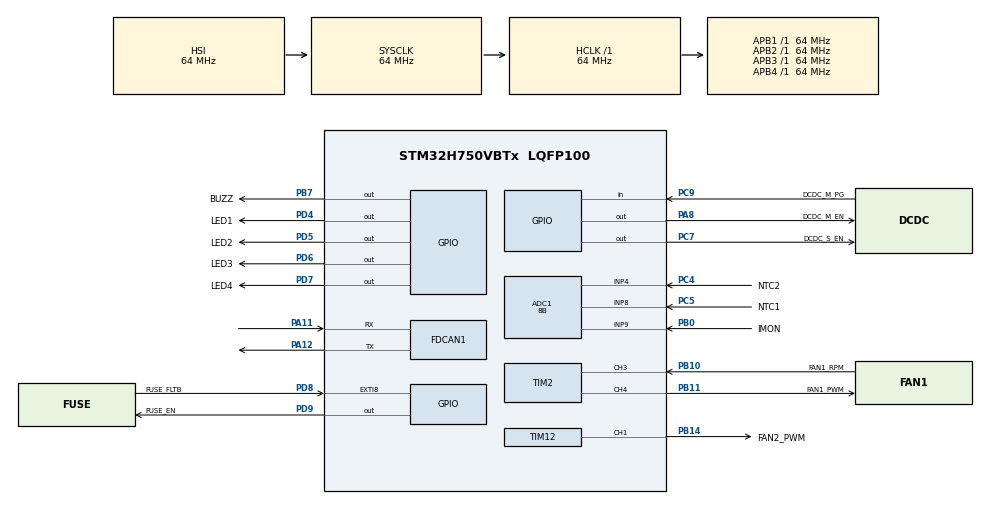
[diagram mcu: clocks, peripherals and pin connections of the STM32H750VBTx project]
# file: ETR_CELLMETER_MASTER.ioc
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ADC1.Channel-0\#ChannelRegularConversion=ADC_CHANNEL_8
ADC1.Channel-1\#ChannelRegularConversion=ADC_CHANNEL_4
ADC1.Channel-2\#ChannelRegularConversion=ADC_CHANNEL_9
ADC1.ClockPrescaler=ADC_CLOCK_ASYNC_DIV8
ADC1.ContinuousConvMode=ENABLE
ADC1.ConversionDataManagement=ADC_CONVERSIONDATA_DMA_CIRCULAR
ADC1.EOCSelection=ADC_EOC_SEQ_CONV
ADC1.NbrOfConversion=3
ADC1.NbrOfConversionFlag=1
ADC1.OffsetNumber-0\#ChannelRegularConversion=ADC_OFFSET_NONE
ADC1.OffsetNumber-1\#ChannelRegularConversion=ADC_OFFSET_NONE
ADC1.OffsetNumber-2\#ChannelRegularConversion=ADC_OFFSET_NONE
ADC1.OffsetSignedSaturation-0\#ChannelRegularConversion=DISABLE
ADC1.OffsetSignedSaturation-1\#ChannelRegularConversion=DISABLE
ADC1.OffsetSignedSaturation-2\#ChannelRegularConversion=DISABLE
ADC1.Rank-0\#ChannelRegularConversion=1
ADC1.Rank-1\#ChannelRegularConversion=2
ADC1.Rank-2\#ChannelRegularConversion=3
ADC1.Resolution=ADC_RESOLUTION_8B
ADC1.SamplingTime-0\#ChannelRegularConversion=ADC_SAMPLETIME_1CYCLE_5
ADC1.SamplingTime-1\#ChannelRegularConversion=ADC_SAMPLETIME_1CYCLE_5
ADC1.SamplingTime-2\#ChannelRegularConversion=ADC_SAMPLETIME_1CYCLE_5
ADC1.master=1
CORTEX_M7.default_mode_Activation=1
Dma.ADC1.0.Direction=DMA_PERIPH_TO_MEMORY
Dma.ADC1.0.EventEnable=DISABLE
Dma.ADC1.0.FIFOMode=DMA_FIFOMODE_DISABLE
Dma.ADC1.0.Instance=DMA1_Stream0
Dma.ADC1.0.MemDataAlignment=DMA_MDATAALIGN_BYTE
Dma.ADC1.0.MemInc=DMA_MINC_ENABLE
Dma.ADC1.0.Mode=DMA_CIRCULAR
Dma.ADC1.0.PeriphDataAlignment=DMA_PDATAALIGN_BYTE
Dma.ADC1.0.PeriphInc=DMA_PINC_DISABLE
Dma.ADC1.0.Polarity=HAL_DMAMUX_REQ_GEN_RISING
Dma.ADC1.0.Priority=DMA_PRIORITY_LOW
Dma.ADC1.0.RequestNumber=1
Dma.ADC1.0.SignalID=NONE
Dma.ADC1.0.SyncEnable=DISABLE
Dma.ADC1.0.SyncPolarity=HAL_DMAMUX_SYNC_NO_EVENT
Dma.ADC1.0.SyncRequestNumber=1
Dma.ADC1.0.SyncSignalID=NONE
Dma.Request0=ADC1
FDCAN1.CalculateBaudRateNominal=625000
FDCAN1.CalculateTimeBitNominal=1600
FDCAN1.CalculateTimeQuantumNominal=320.0
Mcu.Family=STM32H7
Mcu.Name=STM32H750VBTx
Mcu.Package=LQFP100
NVIC.DMA1_Stream0_IRQn=true\:0\:0\:false\:false\:true\:false\:true\:true
NVIC.PriorityGroup=NVIC_PRIORITYGROUP_4
PA11.Mode=FDCAN_Activate
PA11.Signal=FDCAN1_RX
PA12.Mode=FDCAN_Activate
PA12.Signal=FDCAN1_TX
PA13\ (JTMS/SWDIO).Mode=Serial_Wire
PA13\ (JTMS/SWDIO).Signal=DEBUG_JTMS-SWDIO
PA14\ (JTCK/SWCLK).Mode=Serial_Wire
PA14\ (JTCK/SWCLK).Signal=DEBUG_JTCK-SWCLK
PA8.GPIO_Label=DCDC_M_EN
PA8.Signal=GPIO_Output
PB0.GPIO_Label=IMON
PB0.Signal=ADCx_INP9
PB10.GPIO_Label=FAN1_RPM
PB10.Signal=S_TIM2_CH3
PB11.GPIO_Label=FAN1_PWM
PB11.Signal=S_TIM2_CH4
PB14.GPIO_Label=FAN2_PWM
PB14.Signal=S_TIM12_CH1
PB7.GPIO_Label=BUZZ
PB7.Signal=GPIO_Output
PC14-OSC32_IN\ (OSC32_IN).Mode=LSE-External-Oscillator
PC14-OSC32_IN\ (OSC32_IN).Signal=RCC_OSC32_IN
PC15-OSC32_OUT\ (OSC32_OUT).Mode=LSE-External-Oscillator
PC15-OSC32_OUT\ (OSC32_OUT).Signal=RCC_OSC32_OUT
PC4.GPIO_Label=NTC2
PC4.Signal=ADCx_INP4
PC5.GPIO_Label=NTC1
PC5.Signal=ADCx_INP8
PC7.GPIO_Label=DCDC_S_EN
PC7.Signal=GPIO_Output
PC9.GPIO_Label=DCDC_M_PG
PC9.Signal=GPIO_Input
PD4.GPIO_Label=LED1
PD4.Signal=GPIO_Output
PD5.GPIO_Label=LED2
PD5.Signal=GPIO_Output
PD6.GPIO_Label=LED3
PD6.Signal=GPIO_Output
PD7.GPIO_Label=LED4
PD7.Signal=GPIO_Output
PD8.GPIO_Label=FUSE_FLTB
PD8.Signal=GPXTI8
PD9.GPIO_Label=FUSE_EN
PD9.Signal=GPIO_Output
PH0-OSC_IN\ (PH0).Mode=HSE-External-Oscillator
PH0-OSC_IN\ (PH0).Signal=RCC_OSC_IN
PH1-OSC_OUT\ (PH1).Mode=HSE-External-Oscillator
PH1-OSC_OUT\ (PH1).Signal=RCC_OSC_OUT
ProjectManager.HeapSize=0x200
ProjectManager.StackSize=0x400
ProjectManager.TargetToolchain=STM32CubeIDE
RCC.ADCFreq_Value=75000000
RCC.APB1Freq_Value=64000000
RCC.APB2Freq_Value=64000000
RCC.APB3Freq_Value=64000000
RCC.APB4Freq_Value=64000000
RCC.CortexFreq_Value=64000000
RCC.DIVM1=4
RCC.DIVM2=4
RCC.DIVN1=24
RCC.DIVN2=24
RCC.DIVQ1=3
RCC.HCLKFreq_Value=64000000
RCC.PLL2FRACN=0
RCC.PLLFRACN=0
RCC.PLLSourceVirtual=RCC_PLLSOURCE_HSE
RCC.SYSCLKFreq_VALUE=64000000
RCC.USBFreq_Value=50000000
SH.ADCx_INP4.0=ADC1_INP4,IN4-Single-Ended
SH.ADCx_INP8.0=ADC1_INP8,IN8-Single-Ended
SH.ADCx_INP9.0=ADC1_INP9,IN9-Single-Ended
SH.S_TIM12_CH1.0=TIM12_CH1,PWM Generation1 CH1
SH.S_TIM2_CH3.0=TIM2_CH3,Input_Capture3_from_TI3
SH.S_TIM2_CH4.0=TIM2_CH4,Forced Output4 CH4
TIM12.Channel-PWM\ Generation1\ CH1=TIM_CHANNEL_1
TIM2.Channel-Forced\ Output4\ CH4=TIM_CHANNEL_4
TIM2.Channel-Input_Capture3_from_TI3=TIM_CHANNEL_3
VP_MEMORYMAP_VS_MEMORYMAP.Mode=CurAppReg
VP_TIM12_VS_ClockSourceINT.Mode=Internal
VP_TIM2_VS_ClockSourceINT.Mode=Internal
board=custom

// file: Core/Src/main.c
/* USER CODE BEGIN Header */
/**
  ******************************************************************************
  * @file           : main.c
  * @brief          : Main program body
  ******************************************************************************
  * @attention
  *
  * Copyright (c) 2024 STMicroelectronics.
  * All rights reserved.
  *
  * This software is licensed under terms that can be found in the LICENSE file
  * in the root directory of this software component.
  * If no LICENSE file comes with this software, it is provided AS-IS.
  *
  ******************************************************************************
  */
/* USER CODE END Header */
#include "main.h"

/* USER CODE BEGIN Includes */
#include "P_Controller.h"

/* USER CODE END Includes */

/* USER CODE BEGIN PD */
P_Controller *pc;

/* USER CODE END PD */

ADC_HandleTypeDef hadc1;
DMA_HandleTypeDef hdma_adc1;

FDCAN_HandleTypeDef hfdcan1;

TIM_HandleTypeDef htim2;
TIM_HandleTypeDef htim12;

void SystemClock_Config(void);
static void MPU_Config(void);
static void MX_GPIO_Init(void);
static void MX_DMA_Init(void);
static void MX_ADC1_Init(void);
static void MX_FDCAN1_Init(void);
static void MX_TIM2_Init(void);
static void MX_TIM12_Init(void);

/* USER CODE BEGIN 0 */

uint8_t analog_buffer[3];
uint8_t errors_byte=0;

void errors_byte_control (void){
	//set or reset general error bit if at least 1 error exisits
	if(errors_byte<=1){
		errors_byte=0;
	}
	else{
		errors_byte=errors_byte|0b00000001;
	}

}

void master_init(void){
	//apagar supply slaves
	HAL_GPIO_WritePin(DCDC_M_EN_GPIO_Port, DCDC_M_EN_Pin, GPIO_PIN_RESET);
	HAL_GPIO_WritePin(DCDC_S_EN_GPIO_Port, DCDC_S_EN_Pin, GPIO_PIN_RESET);
	HAL_GPIO_WritePin(FUSE_EN_GPIO_Port, FUSE_EN_Pin, GPIO_PIN_RESET);
	//encendre user LED 1
	HAL_GPIO_WritePin(LED1_GPIO_Port, LED1_Pin, GPIO_PIN_SET);
	//iniciar refri
	P_Controller_Init(pc);

}

void slave_supply_init(void){
	//activar DCDCs
	HAL_GPIO_WritePin(DCDC_M_EN_GPIO_Port, DCDC_M_EN_Pin, GPIO_PIN_SET);
	HAL_GPIO_WritePin(DCDC_S_EN_GPIO_Port, DCDC_S_EN_Pin, GPIO_PIN_SET);
	HAL_Delay(10);
	//si supply correcte activar fuse
	if(HAL_GPIO_ReadPin(DCDC_M_PG_GPIO_Port, DCDC_M_PG_Pin)==1){
		HAL_GPIO_WritePin(FUSE_EN_GPIO_Port, FUSE_EN_Pin, GPIO_PIN_SET);
	}
	//reset bit error slaves supply
	//reset bit error slaves supply overcurrent
	errors_byte=errors_byte&0b11111001;
}

void power_manager(void){
	if(HAL_GPIO_ReadPin(DCDC_M_PG_GPIO_Port, DCDC_M_PG_Pin)==0){
		HAL_GPIO_WritePin(DCDC_M_EN_GPIO_Port, DCDC_M_EN_Pin, GPIO_PIN_RESET);
		HAL_GPIO_WritePin(DCDC_S_EN_GPIO_Port, DCDC_S_EN_Pin, GPIO_PIN_RESET);
		//set bit error slaves supply
		errors_byte=errors_byte|0b00000010;
	}
	if(HAL_GPIO_ReadPin(FUSE_FLTB_GPIO_Port, FUSE_FLTB_Pin)==0){
		HAL_GPIO_WritePin(DCDC_M_EN_GPIO_Port, DCDC_M_EN_Pin, GPIO_PIN_RESET);
		HAL_GPIO_WritePin(DCDC_S_EN_GPIO_Port, DCDC_S_EN_Pin, GPIO_PIN_RESET);
		//set bit error slaves supply overcurrent
		errors_byte=errors_byte|0b00000100;
	}
}

void HAL_ADC_ConvCpltCallback(ADC_HandleTypeDef* hadc) { //funció conversió DMA
    if (hadc->Instance == ADC1) {
        //uint8_t ntc1=analog_buffer[0]
    	//uint8_t ntc2=analog_buffer[1]
    	//uint8_t imon=analog_buffer[2]
    }
}

void capacity_calculation(void){
	/*
	uint16_t Imax, Imin, delta_t;
	float Q, Q_previous;
	->assingar els buffers amb els valors amb les variables locals de la funció
	if(I_value<I_previous_value){
		Imax=I_previous_value;
		Imin=I_value;
	}
	else{
		Imax=I_value;
		Imin=I_previous_value;
	}
	delta_t=t_previous_value-t_value;
	Q=Q_previous + (delta_t * (Imax+0.5*Imin))/3600;
	*/
}

void energy_calculation(void){
	/*
	uint16_t Pmax, Pmin, delta_t;
	float E, E_previous;
	if((I_value*V_value)<(I_previous_value*V_previous_value)){
		Pmax=I_previous_value*V_previous_value;
		Pmin=I_value*V_value;
	}
	else{
		Pmax=I_value*V_value;
		Pmin=I_previous_value*V_previous_value;
	}
	delta_t=t_previous_value-t_value;
	E=E_previous+(delta_t*(Pmax+0.5*Imin))/3600;
	*/
}

void cooling_controller(void){
	/*
	uint16_t duty_fan = P_Controller_Update(pc, max_temperture, cooling_mode);
	TIM2->CCR4 = 100 - duty_fan;
	TIM12->CCR1 = 100 - duty_fan;
	*/
}

/* USER CODE END 0 */

int main(void)
{

  /* MPU Configuration--------------------------------------------------------*/
  MPU_Config();

  /* MCU Configuration--------------------------------------------------------*/

  /* Reset of all peripherals, Initializes the Flash interface and the Systick. */
  HAL_Init();

  /* Configure the system clock */
  SystemClock_Config();

  /* Initialize all configured peripherals */
  MX_GPIO_Init();
  MX_DMA_Init();
  MX_ADC1_Init();
  MX_FDCAN1_Init();
  MX_TIM2_Init();
  MX_TIM12_Init();
  /* USER CODE BEGIN 2 */
  HAL_TIM_PWM_Start(&htim2, TIM_CHANNEL_4);
  HAL_TIM_PWM_Start(&htim12, TIM_CHANNEL_1);
  HAL_ADC_Start_DMA(&hadc1, (uint32_t *)analog_buffer, 3);
  master_init();
  /* USER CODE END 2 */

  /* Infinite loop */
  while (1)
  {

  }
}

void SystemClock_Config(void)
{
  RCC_OscInitTypeDef RCC_OscInitStruct = {0};
  RCC_ClkInitTypeDef RCC_ClkInitStruct = {0};

  /** Supply configuration update enable
  */
  HAL_PWREx_ConfigSupply(PWR_LDO_SUPPLY);

  /** Configure the main internal regulator output voltage
  */
  __HAL_PWR_VOLTAGESCALING_CONFIG(PWR_REGULATOR_VOLTAGE_SCALE3);

  while(!__HAL_PWR_GET_FLAG(PWR_FLAG_VOSRDY)) {}

  /** Initializes the RCC Oscillators according to the specified parameters
  * in the RCC_OscInitTypeDef structure.
  */
  RCC_OscInitStruct.OscillatorType = RCC_OSCILLATORTYPE_HSI|RCC_OSCILLATORTYPE_HSE;
  RCC_OscInitStruct.HSEState = RCC_HSE_ON;
  RCC_OscInitStruct.HSIState = RCC_HSI_DIV1;
  RCC_OscInitStruct.HSICalibrationValue = RCC_HSICALIBRATION_DEFAULT;
  RCC_OscInitStruct.PLL.PLLState = RCC_PLL_ON;
  RCC_OscInitStruct.PLL.PLLSource = RCC_PLLSOURCE_HSE;
  RCC_OscInitStruct.PLL.PLLM = 4;
  RCC_OscInitStruct.PLL.PLLN = 24;
  RCC_OscInitStruct.PLL.PLLP = 2;
  RCC_OscInitStruct.PLL.PLLQ = 3;
  RCC_OscInitStruct.PLL.PLLR = 2;
  RCC_OscInitStruct.PLL.PLLRGE = RCC_PLL1VCIRANGE_2;
  RCC_OscInitStruct.PLL.PLLVCOSEL = RCC_PLL1VCOMEDIUM;
  RCC_OscInitStruct.PLL.PLLFRACN = 0;
  if (HAL_RCC_OscConfig(&RCC_OscInitStruct) != HAL_OK)
  {
    Error_Handler();
  }

  /** Initializes the CPU, AHB and APB buses clocks
  */
  RCC_ClkInitStruct.ClockType = RCC_CLOCKTYPE_HCLK|RCC_CLOCKTYPE_SYSCLK
                              |RCC_CLOCKTYPE_PCLK1|RCC_CLOCKTYPE_PCLK2
                              |RCC_CLOCKTYPE_D3PCLK1|RCC_CLOCKTYPE_D1PCLK1;
  RCC_ClkInitStruct.SYSCLKSource = RCC_SYSCLKSOURCE_HSI;
  RCC_ClkInitStruct.SYSCLKDivider = RCC_SYSCLK_DIV1;
  RCC_ClkInitStruct.AHBCLKDivider = RCC_HCLK_DIV1;
  RCC_ClkInitStruct.APB3CLKDivider = RCC_APB3_DIV1;
  RCC_ClkInitStruct.APB1CLKDivider = RCC_APB1_DIV1;
  RCC_ClkInitStruct.APB2CLKDivider = RCC_APB2_DIV1;
  RCC_ClkInitStruct.APB4CLKDivider = RCC_APB4_DIV1;

  if (HAL_RCC_ClockConfig(&RCC_ClkInitStruct, FLASH_LATENCY_1) != HAL_OK)
  {
    Error_Handler();
  }
}

static void MX_ADC1_Init(void)
{

  ADC_MultiModeTypeDef multimode = {0};
  ADC_ChannelConfTypeDef sConfig = {0};

  /** Common config
  */
  hadc1.Instance = ADC1;
  hadc1.Init.ScanConvMode = ADC_SCAN_ENABLE;
  hadc1.Init.EOCSelection = ADC_EOC_SEQ_CONV;
  hadc1.Init.LowPowerAutoWait = DISABLE;
  hadc1.Init.ContinuousConvMode = ENABLE;
  hadc1.Init.NbrOfConversion = 3;
  hadc1.Init.DiscontinuousConvMode = DISABLE;
  hadc1.Init.ExternalTrigConv = ADC_SOFTWARE_START;
  hadc1.Init.ExternalTrigConvEdge = ADC_EXTERNALTRIGCONVEDGE_NONE;
  hadc1.Init.ConversionDataManagement = ADC_CONVERSIONDATA_DMA_CIRCULAR;
  hadc1.Init.Overrun = ADC_OVR_DATA_PRESERVED;
  hadc1.Init.LeftBitShift = ADC_LEFTBITSHIFT_NONE;
  hadc1.Init.OversamplingMode = DISABLE;
  hadc1.Init.Oversampling.Ratio = 1;
  if (HAL_ADC_Init(&hadc1) != HAL_OK)
  {
    Error_Handler();
  }
  hadc1.Init.ClockPrescaler = ADC_CLOCK_ASYNC_DIV8;
  hadc1.Init.Resolution = ADC_RESOLUTION_8B;
  if (HAL_ADC_Init(&hadc1) != HAL_OK)
  {
    Error_Handler();
  }

  /** Configure the ADC multi-mode
  */
  multimode.Mode = ADC_MODE_INDEPENDENT;
  if (HAL_ADCEx_MultiModeConfigChannel(&hadc1, &multimode) != HAL_OK)
  {
    Error_Handler();
  }

  /** Configure Regular Channel
  */
  sConfig.Channel = ADC_CHANNEL_8;
  sConfig.Rank = ADC_REGULAR_RANK_1;
  sConfig.SamplingTime = ADC_SAMPLETIME_1CYCLE_5;
  sConfig.SingleDiff = ADC_SINGLE_ENDED;
  sConfig.OffsetNumber = ADC_OFFSET_NONE;
  sConfig.Offset = 0;
  sConfig.OffsetSignedSaturation = DISABLE;
  if (HAL_ADC_ConfigChannel(&hadc1, &sConfig) != HAL_OK)
  {
    Error_Handler();
  }

  /** Configure Regular Channel
  */
  sConfig.Channel = ADC_CHANNEL_4;
  sConfig.Rank = ADC_REGULAR_RANK_2;
  if (HAL_ADC_ConfigChannel(&hadc1, &sConfig) != HAL_OK)
  {
    Error_Handler();
  }

  /** Configure Regular Channel
  */
  sConfig.Channel = ADC_CHANNEL_9;
  sConfig.Rank = ADC_REGULAR_RANK_3;
  if (HAL_ADC_ConfigChannel(&hadc1, &sConfig) != HAL_OK)
  {
    Error_Handler();
  }

}

static void MX_FDCAN1_Init(void)
{

  hfdcan1.Instance = FDCAN1;
  hfdcan1.Init.FrameFormat = FDCAN_FRAME_CLASSIC;
  hfdcan1.Init.Mode = FDCAN_MODE_NORMAL;
  hfdcan1.Init.AutoRetransmission = DISABLE;
  hfdcan1.Init.TransmitPause = DISABLE;
  hfdcan1.Init.ProtocolException = DISABLE;
  hfdcan1.Init.NominalPrescaler = 16;
  hfdcan1.Init.NominalSyncJumpWidth = 1;
  hfdcan1.Init.NominalTimeSeg1 = 2;
  hfdcan1.Init.NominalTimeSeg2 = 2;
  hfdcan1.Init.DataPrescaler = 1;
  hfdcan1.Init.DataSyncJumpWidth = 1;
  hfdcan1.Init.DataTimeSeg1 = 1;
  hfdcan1.Init.DataTimeSeg2 = 1;
  hfdcan1.Init.MessageRAMOffset = 0;
  hfdcan1.Init.StdFiltersNbr = 0;
  hfdcan1.Init.ExtFiltersNbr = 0;
  hfdcan1.Init.RxFifo0ElmtsNbr = 0;
  hfdcan1.Init.RxFifo0ElmtSize = FDCAN_DATA_BYTES_8;
  hfdcan1.Init.RxFifo1ElmtsNbr = 0;
  hfdcan1.Init.RxFifo1ElmtSize = FDCAN_DATA_BYTES_8;
  hfdcan1.Init.RxBuffersNbr = 0;
  hfdcan1.Init.RxBufferSize = FDCAN_DATA_BYTES_8;
  hfdcan1.Init.TxEventsNbr = 0;
  hfdcan1.Init.TxBuffersNbr = 0;
  hfdcan1.Init.TxFifoQueueElmtsNbr = 0;
  hfdcan1.Init.TxFifoQueueMode = FDCAN_TX_FIFO_OPERATION;
  hfdcan1.Init.TxElmtSize = FDCAN_DATA_BYTES_8;
  if (HAL_FDCAN_Init(&hfdcan1) != HAL_OK)
  {
    Error_Handler();
  }

}

static void MX_TIM2_Init(void)
{

  TIM_ClockConfigTypeDef sClockSourceConfig = {0};
  TIM_MasterConfigTypeDef sMasterConfig = {0};
  TIM_IC_InitTypeDef sConfigIC = {0};
  TIM_OC_InitTypeDef sConfigOC = {0};

  htim2.Instance = TIM2;
  htim2.Init.Prescaler = 0;
  htim2.Init.CounterMode = TIM_COUNTERMODE_UP;
  htim2.Init.Period = 4294967295;
  htim2.Init.ClockDivision = TIM_CLOCKDIVISION_DIV1;
  htim2.Init.AutoReloadPreload = TIM_AUTORELOAD_PRELOAD_DISABLE;
  if (HAL_TIM_Base_Init(&htim2) != HAL_OK)
  {
    Error_Handler();
  }
  sClockSourceConfig.ClockSource = TIM_CLOCKSOURCE_INTERNAL;
  if (HAL_TIM_ConfigClockSource(&htim2, &sClockSourceConfig) != HAL_OK)
  {
    Error_Handler();
  }
  if (HAL_TIM_IC_Init(&htim2) != HAL_OK)
  {
    Error_Handler();
  }
  if (HAL_TIM_OC_Init(&htim2) != HAL_OK)
  {
    Error_Handler();
  }
  sMasterConfig.MasterOutputTrigger = TIM_TRGO_RESET;
  sMasterConfig.MasterSlaveMode = TIM_MASTERSLAVEMODE_DISABLE;
  if (HAL_TIMEx_MasterConfigSynchronization(&htim2, &sMasterConfig) != HAL_OK)
  {
    Error_Handler();
  }
  sConfigIC.ICPolarity = TIM_INPUTCHANNELPOLARITY_RISING;
  sConfigIC.ICSelection = TIM_ICSELECTION_DIRECTTI;
  sConfigIC.ICPrescaler = TIM_ICPSC_DIV1;
  sConfigIC.ICFilter = 0;
  if (HAL_TIM_IC_ConfigChannel(&htim2, &sConfigIC, TIM_CHANNEL_3) != HAL_OK)
  {
    Error_Handler();
  }
  sConfigOC.OCMode = TIM_OCMODE_FORCED_ACTIVE;
  sConfigOC.Pulse = 0;
  sConfigOC.OCPolarity = TIM_OCPOLARITY_HIGH;
  sConfigOC.OCFastMode = TIM_OCFAST_DISABLE;
  if (HAL_TIM_OC_ConfigChannel(&htim2, &sConfigOC, TIM_CHANNEL_4) != HAL_OK)
  {
    Error_Handler();
  }
  HAL_TIM_MspPostInit(&htim2);

}

static void MX_TIM12_Init(void)
{

  TIM_ClockConfigTypeDef sClockSourceConfig = {0};
  TIM_MasterConfigTypeDef sMasterConfig = {0};
  TIM_OC_InitTypeDef sConfigOC = {0};

  htim12.Instance = TIM12;
  htim12.Init.Prescaler = 0;
  htim12.Init.CounterMode = TIM_COUNTERMODE_UP;
  htim12.Init.Period = 65535;
  htim12.Init.ClockDivision = TIM_CLOCKDIVISION_DIV1;
  htim12.Init.AutoReloadPreload = TIM_AUTORELOAD_PRELOAD_DISABLE;
  if (HAL_TIM_Base_Init(&htim12) != HAL_OK)
  {
    Error_Handler();
  }
  sClockSourceConfig.ClockSource = TIM_CLOCKSOURCE_INTERNAL;
  if (HAL_TIM_ConfigClockSource(&htim12, &sClockSourceConfig) != HAL_OK)
  {
    Error_Handler();
  }
  if (HAL_TIM_PWM_Init(&htim12) != HAL_OK)
  {
    Error_Handler();
  }
  sMasterConfig.MasterOutputTrigger = TIM_TRGO_RESET;
  sMasterConfig.MasterSlaveMode = TIM_MASTERSLAVEMODE_DISABLE;
  if (HAL_TIMEx_MasterConfigSynchronization(&htim12, &sMasterConfig) != HAL_OK)
  {
    Error_Handler();
  }
  sConfigOC.OCMode = TIM_OCMODE_PWM1;
  sConfigOC.Pulse = 0;
  sConfigOC.OCPolarity = TIM_OCPOLARITY_HIGH;
  sConfigOC.OCFastMode = TIM_OCFAST_DISABLE;
  if (HAL_TIM_PWM_ConfigChannel(&htim12, &sConfigOC, TIM_CHANNEL_1) != HAL_OK)
  {
    Error_Handler();
  }
  HAL_TIM_MspPostInit(&htim12);

}

static void MX_DMA_Init(void)
{

  /* DMA controller clock enable */
  __HAL_RCC_DMA1_CLK_ENABLE();

  /* DMA interrupt init */
  /* DMA1_Stream0_IRQn interrupt configuration */
  HAL_NVIC_SetPriority(DMA1_Stream0_IRQn, 0, 0);
  HAL_NVIC_EnableIRQ(DMA1_Stream0_IRQn);

}

static void MX_GPIO_Init(void)
{
  GPIO_InitTypeDef GPIO_InitStruct = {0};

  /* GPIO Ports Clock Enable */
  __HAL_RCC_GPIOC_CLK_ENABLE();
  __HAL_RCC_GPIOH_CLK_ENABLE();
  __HAL_RCC_GPIOB_CLK_ENABLE();
  __HAL_RCC_GPIOD_CLK_ENABLE();
  __HAL_RCC_GPIOA_CLK_ENABLE();

  /*Configure GPIO pin Output Level */
  HAL_GPIO_WritePin(GPIOD, FUSE_EN_Pin|LED1_Pin|LED2_Pin|LED3_Pin
                          |LED4_Pin, GPIO_PIN_RESET);

  /*Configure GPIO pin Output Level */
  HAL_GPIO_WritePin(DCDC_S_EN_GPIO_Port, DCDC_S_EN_Pin, GPIO_PIN_RESET);

  /*Configure GPIO pin Output Level */
  HAL_GPIO_WritePin(DCDC_M_EN_GPIO_Port, DCDC_M_EN_Pin, GPIO_PIN_RESET);

  /*Configure GPIO pin Output Level */
  HAL_GPIO_WritePin(BUZZ_GPIO_Port, BUZZ_Pin, GPIO_PIN_RESET);

  /*Configure GPIO pin : FUSE_FLTB_Pin */
  GPIO_InitStruct.Pin = FUSE_FLTB_Pin;
  GPIO_InitStruct.Mode = GPIO_MODE_IT_RISING;
  GPIO_InitStruct.Pull = GPIO_NOPULL;
  HAL_GPIO_Init(FUSE_FLTB_GPIO_Port, &GPIO_InitStruct);

  /*Configure GPIO pins : FUSE_EN_Pin LED1_Pin LED2_Pin LED3_Pin
                           LED4_Pin */
  GPIO_InitStruct.Pin = FUSE_EN_Pin|LED1_Pin|LED2_Pin|LED3_Pin
                          |LED4_Pin;
  GPIO_InitStruct.Mode = GPIO_MODE_OUTPUT_PP;
  GPIO_InitStruct.Pull = GPIO_NOPULL;
  GPIO_InitStruct.Speed = GPIO_SPEED_FREQ_LOW;
  HAL_GPIO_Init(GPIOD, &GPIO_InitStruct);

  /*Configure GPIO pin : DCDC_S_EN_Pin */
  GPIO_InitStruct.Pin = DCDC_S_EN_Pin;
  GPIO_InitStruct.Mode = GPIO_MODE_OUTPUT_PP;
  GPIO_InitStruct.Pull = GPIO_NOPULL;
  GPIO_InitStruct.Speed = GPIO_SPEED_FREQ_LOW;
  HAL_GPIO_Init(DCDC_S_EN_GPIO_Port, &GPIO_InitStruct);

  /*Configure GPIO pin : DCDC_M_PG_Pin */
  GPIO_InitStruct.Pin = DCDC_M_PG_Pin;
  GPIO_InitStruct.Mode = GPIO_MODE_INPUT;
  GPIO_InitStruct.Pull = GPIO_NOPULL;
  HAL_GPIO_Init(DCDC_M_PG_GPIO_Port, &GPIO_InitStruct);

  /*Configure GPIO pin : DCDC_M_EN_Pin */
  GPIO_InitStruct.Pin = DCDC_M_EN_Pin;
  GPIO_InitStruct.Mode = GPIO_MODE_OUTPUT_PP;
  GPIO_InitStruct.Pull = GPIO_NOPULL;
  GPIO_InitStruct.Speed = GPIO_SPEED_FREQ_LOW;
  HAL_GPIO_Init(DCDC_M_EN_GPIO_Port, &GPIO_InitStruct);

  /*Configure GPIO pin : BUZZ_Pin */
  GPIO_InitStruct.Pin = BUZZ_Pin;
  GPIO_InitStruct.Mode = GPIO_MODE_OUTPUT_PP;
  GPIO_InitStruct.Pull = GPIO_NOPULL;
  GPIO_InitStruct.Speed = GPIO_SPEED_FREQ_LOW;
  HAL_GPIO_Init(BUZZ_GPIO_Port, &GPIO_InitStruct);

}

 /* MPU Configuration */

void MPU_Config(void)
{
  MPU_Region_InitTypeDef MPU_InitStruct = {0};

  /* Disables the MPU */
  HAL_MPU_Disable();

  /** Initializes and configures the Region and the memory to be protected
  */
  MPU_InitStruct.Enable = MPU_REGION_ENABLE;
  MPU_InitStruct.Number = MPU_REGION_NUMBER0;
  MPU_InitStruct.BaseAddress = 0x0;
  MPU_InitStruct.Size = MPU_REGION_SIZE_4GB;
  MPU_InitStruct.SubRegionDisable = 0x87;
  MPU_InitStruct.TypeExtField = MPU_TEX_LEVEL0;
  MPU_InitStruct.AccessPermission = MPU_REGION_NO_ACCESS;
  MPU_InitStruct.DisableExec = MPU_INSTRUCTION_ACCESS_DISABLE;
  MPU_InitStruct.IsShareable = MPU_ACCESS_SHAREABLE;
  MPU_InitStruct.IsCacheable = MPU_ACCESS_NOT_CACHEABLE;
  MPU_InitStruct.IsBufferable = MPU_ACCESS_NOT_BUFFERABLE;

  HAL_MPU_ConfigRegion(&MPU_InitStruct);
  /* Enables the MPU */
  HAL_MPU_Enable(MPU_PRIVILEGED_DEFAULT);

}

void Error_Handler(void)
{
  __disable_irq();
  while (1)
  {
  }
}
